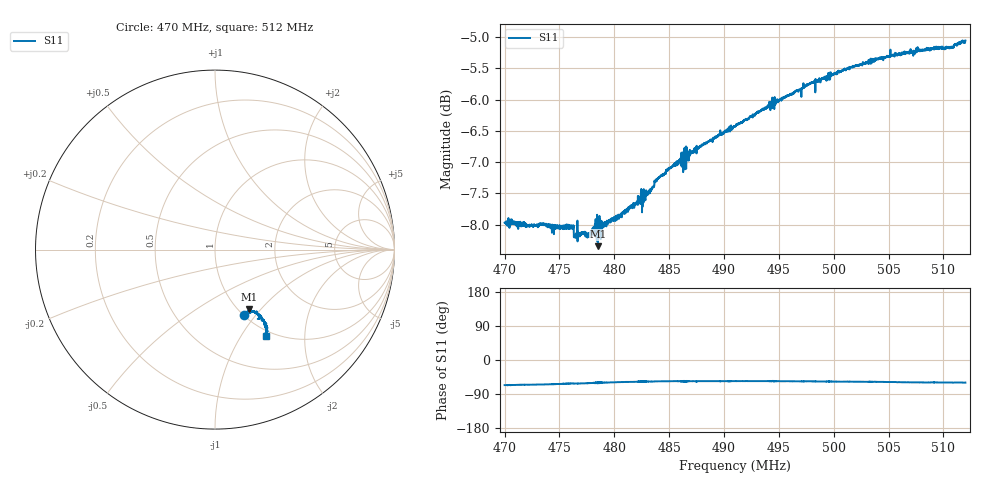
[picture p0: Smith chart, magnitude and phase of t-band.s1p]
! Calibrated averaged scanner-service zoom
# Hz S RI R 50
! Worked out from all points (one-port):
!   4001 points, 470 MHz to 512 MHz, reference 50 ohm
!   lowest |S11| = -8.3 dB at 478.5 MHz (marker M1), VSWR 2.24, Z = 55.9 - j43.4 ohm
!   |S11| at or under -10 dB: nowhere
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4.7e8  0.1609 -0.3658
4.7294e8  0.1689 -0.3594
4.7525e8  0.1789 -0.3541
4.7609e8  0.1863 -0.3498
4.765205e8  0.1812 -0.3465
4.7714e8  0.1861 -0.3452
4.775705e8  0.1887 -0.3414
4.78505e8  0.1913 -0.3314
4.805e8  0.2123 -0.3455
4.82453e8  0.2354 -0.354
4.834295e8  0.233 -0.3563
4.838705e8  0.2388 -0.3609
4.8575e8  0.252 -0.3698
4.86506e8  0.247 -0.3766
4.91e8  0.2683 -0.3945
4.946435e8  0.2794 -0.412
4.9625e8  0.2823 -0.4211
4.9709e8  0.2835 -0.4257
4.977515e8  0.2867 -0.4293
5.0066e8  0.2856 -0.4439
5.015e8  0.2895 -0.4462
5.039255e8  0.2894 -0.4564
5.0549e8  0.2864 -0.463
5.0675e8  0.2836 -0.4673
5.0864e8  0.2822 -0.4728
5.090705e8  0.2837 -0.4726
5.1074e8  0.2792 -0.4752
5.12e8  0.2828 -0.4821
